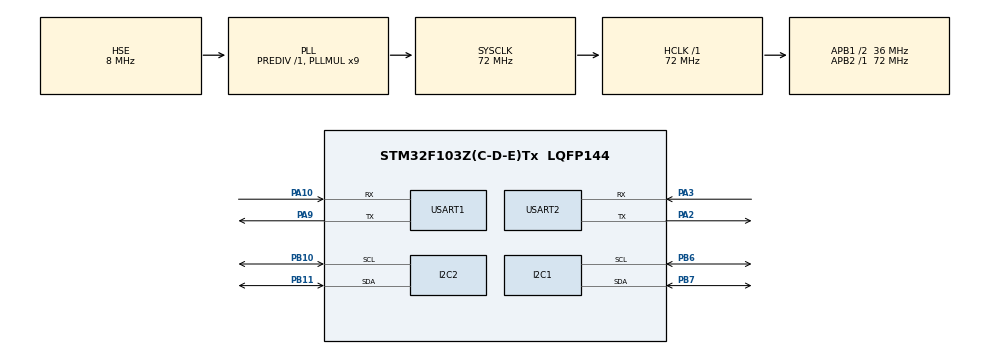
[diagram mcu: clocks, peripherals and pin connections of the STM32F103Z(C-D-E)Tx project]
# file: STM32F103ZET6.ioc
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Mcu.Family=STM32F1
Mcu.Name=STM32F103Z(C-D-E)Tx
Mcu.Package=LQFP144
NVIC.PriorityGroup=NVIC_PRIORITYGROUP_4
OSC_IN.Mode=HSE-External-Oscillator
OSC_IN.Signal=RCC_OSC_IN
OSC_OUT.Mode=HSE-External-Oscillator
OSC_OUT.Signal=RCC_OSC_OUT
PA10.Mode=Asynchronous
PA10.Signal=USART1_RX
PA13.Mode=Serial_Wire
PA13.Signal=SYS_JTMS-SWDIO
PA14.Mode=Serial_Wire
PA14.Signal=SYS_JTCK-SWCLK
PA2.Mode=Asynchronous
PA2.Signal=USART2_TX
PA3.Mode=Asynchronous
PA3.Signal=USART2_RX
PA9.Mode=Asynchronous
PA9.Signal=USART1_TX
PB10.Mode=I2C
PB10.Signal=I2C2_SCL
PB11.Mode=I2C
PB11.Signal=I2C2_SDA
PB6.Mode=I2C
PB6.Signal=I2C1_SCL
PB7.Mode=I2C
PB7.Signal=I2C1_SDA
ProjectManager.HeapSize=0x200
ProjectManager.StackSize=0x400
ProjectManager.TargetToolchain=SW4STM32
RCC.AHBFreq_Value=72000000
RCC.APB1CLKDivider=RCC_HCLK_DIV2
RCC.APB1Freq_Value=36000000
RCC.APB1TimFreq_Value=72000000
RCC.APB2Freq_Value=72000000
RCC.APB2TimFreq_Value=72000000
RCC.HCLKFreq_Value=72000000
RCC.PLLMUL=RCC_PLL_MUL9
RCC.PLLSourceVirtual=RCC_PLLSOURCE_HSE
RCC.SYSCLKFreq_VALUE=72000000
RCC.SYSCLKSource=RCC_SYSCLKSOURCE_PLLCLK
RCC.USBFreq_Value=72000000
USART1.VirtualMode=VM_ASYNC
USART2.VirtualMode=VM_ASYNC
VP_RTC_VS_RTC_Activate.Mode=RTC_Enabled
board=custom

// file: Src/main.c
/* USER CODE BEGIN Header */
/**
  ******************************************************************************
  * @file           : main.c
  * @brief          : Main program body
  ******************************************************************************
  * @attention
  *
  * Copyright (c) 2024 STMicroelectronics.
  * All rights reserved.
  *
  * This software is licensed under terms that can be found in the LICENSE file
  * in the root directory of this software component.
  * If no LICENSE file comes with this software, it is provided AS-IS.
  *
  ******************************************************************************
  */
/* USER CODE END Header */
#include "main.h"
#include "i2c.h"
#include "rtc.h"
#include "usart.h"
#include "gpio.h"

/* USER CODE BEGIN Includes */
#include "oledfont.h"
#include "oled.h"
#include "bh1750.h"
#include "delay.h"
#include "stdio.h"
#include "sgp30.h"
#include "dht11.h"
/* USER CODE END Includes */

void SystemClock_Config(void);

int main(void) {
    /* USER CODE BEGIN 1 */
    uint8_t temp = 1;
    uint8_t hum = 1;
    char *CntState = "No Connect!\r\n";
    uint8_t aTxBuffer[50];
    uint32_t SGPData;
    uint32_t CO2Data, TVOCData;
    /* USER CODE END 1 */

    /* MCU Configuration--------------------------------------------------------*/

    /* Reset of all peripherals, Initializes the Flash interface and the Systick. */
    HAL_Init();

    /* Configure the system clock */
    SystemClock_Config();

    /* Initialize all configured peripherals */
    MX_GPIO_Init();
    MX_I2C1_Init();
    MX_I2C2_Init();
    MX_RTC_Init();
    MX_USART1_UART_Init();
    MX_USART2_UART_Init();
    /* USER CODE BEGIN 2 */
    OLED_Init();
    OLED_Clear();

    delay_Init();
    HAL_NVIC_SetPriorityGrouping(NVIC_PRIORITYGROUP_2);
    DHT11_Init();
    BH1750_Init();
    SGP30_Init();
    do {
        SGP30_Write(0x20, 0x08);
        SGPData = SGP30_Read();
        CO2Data = (SGPData & 0xffff0000) >> 16;
        TVOCData = SGPData & 0x0000ffff;
        delay_ms(500);
    } while (CO2Data == 400 && TVOCData == 0);
    OLED_ShowChinese(0, 0, TEMP, 0);//��
    OLED_ShowChinese(16, 0, TEMP, 1);//��
    OLED_ShowChinese(32, 0, MAO, 0);//:
    OLED_ShowChinese(64, 0, C, 0);//��
    OLED_ShowChinese(0, 2, HUM, 0);//ʪ
    OLED_ShowChinese(16, 2, HUM, 0);//��
    OLED_ShowChinese(32, 2, MAO, 0);//:
    OLED_ShowString(80, 2, "%", 16);
    OLED_ShowChinese(0, 4, LIGHT, 0);//��
    OLED_ShowChinese(16, 4, LIGHT, 1);//��
    OLED_ShowChinese(32, 4, LIGHT, 2);//ǿ
    OLED_ShowChinese(48, 4, LIGHT, 3);//��
    OLED_ShowChinese(64, 4, MAO, 0);//:
    OLED_ShowString(112, 4, "lx", 16);
    OLED_ShowChinese(0, 6, AIR, 0);//��
    OLED_ShowChinese(16, 6, AIR, 1);//��
    OLED_ShowChinese(32, 6, AIR, 2);//��
    OLED_ShowChinese(48, 6, AIR, 3);//��
    OLED_ShowChinese(64, 6, MAO, 0);//:
    OLED_ShowString(96, 6, "ppm", 16);

    /* USER CODE END 2 */

    /* Infinite loop */
    /* USER CODE BEGIN WHILE */
    while (1) {
        Read_DHT11_Data(&temp, &hum);
        SGP30_Write(0x20, 0x08);
        SGPData = SGP30_Read();
        CO2Data = (SGPData & 0xffff0000) >> 16;
        TVOCData = SGPData & 0x0000ffff;
//        printf("temp:%d ��,\rhum:%d %% ,\r,Light:%d\r\n,co2:%lu ppd\r\n", temp, hum,BH1750_Get_Value(), CO2Data);
        OLED_ShowNum(48,0,temp,2,16);//�¶�
        OLED_ShowNum(48,2,hum,2,16);//ʪ��
        OLED_ShowNum(80,4,BH1750_Get_Value(),3,16);//����ǿ��
        OLED_ShowNum(80,6,CO2Data,3,16);//CO2Ũ��
//        printf("Hello World!\r\n");
        delay_us(1000);
        /* USER CODE END WHILE */

    }
}

void SystemClock_Config(void) {
    RCC_OscInitTypeDef RCC_OscInitStruct = {0};
    RCC_ClkInitTypeDef RCC_ClkInitStruct = {0};
    RCC_PeriphCLKInitTypeDef PeriphClkInit = {0};

    /** Initializes the RCC Oscillators according to the specified parameters
    * in the RCC_OscInitTypeDef structure.
    */
    RCC_OscInitStruct.OscillatorType = RCC_OSCILLATORTYPE_LSI | RCC_OSCILLATORTYPE_HSE;
    RCC_OscInitStruct.HSEState = RCC_HSE_ON;
    RCC_OscInitStruct.HSEPredivValue = RCC_HSE_PREDIV_DIV1;
    RCC_OscInitStruct.HSIState = RCC_HSI_ON;
    RCC_OscInitStruct.LSIState = RCC_LSI_ON;
    RCC_OscInitStruct.PLL.PLLState = RCC_PLL_ON;
    RCC_OscInitStruct.PLL.PLLSource = RCC_PLLSOURCE_HSE;
    RCC_OscInitStruct.PLL.PLLMUL = RCC_PLL_MUL9;
    if (HAL_RCC_OscConfig(&RCC_OscInitStruct) != HAL_OK) {
        Error_Handler();
    }

    /** Initializes the CPU, AHB and APB buses clocks
    */
    RCC_ClkInitStruct.ClockType = RCC_CLOCKTYPE_HCLK | RCC_CLOCKTYPE_SYSCLK
                                  | RCC_CLOCKTYPE_PCLK1 | RCC_CLOCKTYPE_PCLK2;
    RCC_ClkInitStruct.SYSCLKSource = RCC_SYSCLKSOURCE_PLLCLK;
    RCC_ClkInitStruct.AHBCLKDivider = RCC_SYSCLK_DIV1;
    RCC_ClkInitStruct.APB1CLKDivider = RCC_HCLK_DIV2;
    RCC_ClkInitStruct.APB2CLKDivider = RCC_HCLK_DIV1;

    if (HAL_RCC_ClockConfig(&RCC_ClkInitStruct, FLASH_LATENCY_2) != HAL_OK) {
        Error_Handler();
    }
    PeriphClkInit.PeriphClockSelection = RCC_PERIPHCLK_RTC;
    PeriphClkInit.RTCClockSelection = RCC_RTCCLKSOURCE_LSI;
    if (HAL_RCCEx_PeriphCLKConfig(&PeriphClkInit) != HAL_OK) {
        Error_Handler();
    }
}

void Error_Handler(void) {
    __disable_irq();
    while (1) {
    }
}
